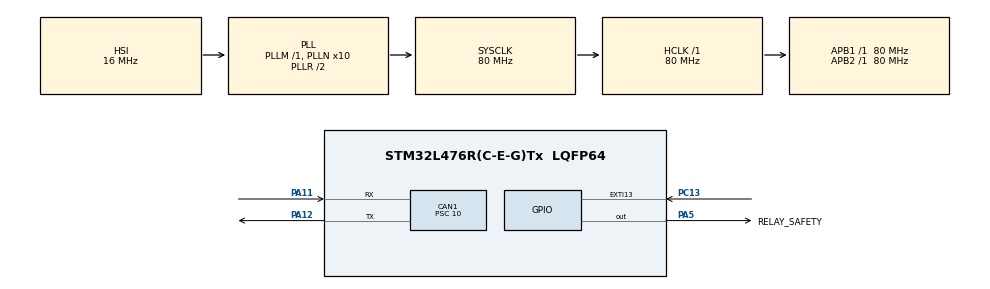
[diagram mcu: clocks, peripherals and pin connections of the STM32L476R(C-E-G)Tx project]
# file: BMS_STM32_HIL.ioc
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CAN1.BS1=CAN_BS1_13TQ
CAN1.BS2=CAN_BS2_2TQ
CAN1.CalculateBaudRate=500000
CAN1.CalculateTimeBit=2000
CAN1.CalculateTimeQuantum=125.0
CAN1.Prescaler=10
Mcu.Family=STM32L4
Mcu.Name=STM32L476R(C-E-G)Tx
Mcu.Package=LQFP64
NUCLEO-L476RG.BUTTON=1
NUCLEO-L476RG.LD2=true
NVIC.CAN1_RX0_IRQn=true\:0\:0\:false\:false\:true\:true\:true\:true
NVIC.EXTI15_10_IRQn=true\:0\:0\:false\:false\:true\:false\:true\:true
NVIC.PriorityGroup=NVIC_PRIORITYGROUP_4
PA11.Mode=CAN_Activate
PA11.Signal=CAN1_RX
PA12.Mode=CAN_Activate
PA12.Signal=CAN1_TX
PA13\ (JTMS-SWDIO).GPIO_Label=TMS
PA13\ (JTMS-SWDIO).Signal=SYS_JTMS-SWDIO
PA14\ (JTCK-SWCLK).GPIO_Label=TCK
PA14\ (JTCK-SWCLK).Signal=SYS_JTCK-SWCLK
PA2.GPIO_Label=USART_TX
PA2.GPIO_Mode=GPIO_MODE_AF_PP
PA2.GPIO_PuPd=GPIO_NOPULL
PA2.GPIO_Speed=GPIO_SPEED_FREQ_VERY_HIGH
PA2.Signal=USART2_TX
PA3.GPIO_Label=USART_RX
PA3.GPIO_Mode=GPIO_MODE_AF_PP
PA3.GPIO_PuPd=GPIO_NOPULL
PA3.GPIO_Speed=GPIO_SPEED_FREQ_VERY_HIGH
PA3.Signal=USART2_RX
PA5.GPIO_Label=RELAY_SAFETY
PA5.Signal=GPIO_Output
PB3\ (JTDO-TRACESWO).GPIO_Label=SWO
PB3\ (JTDO-TRACESWO).Signal=SYS_JTDO-SWO
PC13.Signal=GPXTI13
PC14-OSC32_IN\ (PC14).Signal=RCC_OSC32_IN
PC15-OSC32_OUT\ (PC15).Signal=RCC_OSC32_OUT
PH0-OSC_IN\ (PH0).Signal=RCC_OSC_IN
PH1-OSC_OUT\ (PH1).Signal=RCC_OSC_OUT
ProjectManager.HeapSize=0x200
ProjectManager.StackSize=0x400
ProjectManager.TargetToolchain=STM32CubeIDE
RCC.ADCFreq_Value=64000000
RCC.AHBFreq_Value=80000000
RCC.APB1Freq_Value=80000000
RCC.APB1TimFreq_Value=80000000
RCC.APB2Freq_Value=80000000
RCC.APB2TimFreq_Value=80000000
RCC.CortexFreq_Value=80000000
RCC.HCLKFreq_Value=80000000
RCC.HSE_VALUE=8000000
RCC.HSI_VALUE=16000000
RCC.LSE_VALUE=32768
RCC.MSI_VALUE=4000000
RCC.PLLN=10
RCC.PLLSourceVirtual=RCC_PLLSOURCE_HSI
RCC.PREFETCH_ENABLE=1
RCC.SYSCLKFreq_VALUE=80000000
RCC.SYSCLKSource=RCC_SYSCLKSOURCE_PLLCLK
RCC.USBFreq_Value=64000000
RCC.VCOOutputFreq_Value=160000000
VP_NUCLEO-L476RG_VS_BSP_COMMON.Mode=COMMON
board=NUCLEO-L476RG

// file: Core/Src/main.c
/* USER CODE BEGIN Header */
/**
  ******************************************************************************
  * @file           : main.c
  * @brief          : Main program body - Embedded BMS Controller (HIL Node)
  ******************************************************************************
  */
/* USER CODE END Header */
#include "main.h"

/* USER CODE BEGIN Includes */
#include "Controller_BMS.h"
/* USER CODE END Includes */

CAN_HandleTypeDef hcan1;

/* USER CODE BEGIN PV */
volatile uint32_t dwt_cycles = 0;
volatile float execution_time_us = 0.0f;
CAN_RxHeaderTypeDef rxHeader;
uint8_t rxData[8];
volatile uint32_t last_can_rx_tick = 0;
/* USER CODE END PV */

void SystemClock_Config(void);
static void MX_GPIO_Init(void);
static void MX_CAN1_Init(void);

int main(void)
{

  /* MCU Configuration--------------------------------------------------------*/
  HAL_Init();

  /* Configure the system clock */
  SystemClock_Config();

  /* Initialize all configured peripherals */
  MX_GPIO_Init();
  MX_CAN1_Init();

  /* USER CODE BEGIN 2 */
  CoreDebug->DEMCR |= CoreDebug_DEMCR_TRCENA_Msk;
    DWT->CTRL |= DWT_CTRL_CYCCNTENA_Msk;
  // 1. Initialisation du modèle Simulink (Stateflow + ANN)
  Controller_BMS_initialize();

  // 2. Configuration du Filtre CAN (Accepter ID 0x100)
  CAN_FilterTypeDef sFilterConfig;
  sFilterConfig.FilterBank = 0;
  sFilterConfig.FilterMode = CAN_FILTERMODE_IDMASK;
  sFilterConfig.FilterScale = CAN_FILTERSCALE_32BIT;
  sFilterConfig.FilterIdHigh = (0x100 << 5);
  sFilterConfig.FilterIdLow = 0x0000;
  sFilterConfig.FilterMaskIdHigh = (0x7FF << 5);
  sFilterConfig.FilterMaskIdLow = 0x0000;
  sFilterConfig.FilterFIFOAssignment = CAN_RX_FIFO0;
  sFilterConfig.FilterActivation = ENABLE;
  sFilterConfig.SlaveStartFilterBank = 14;

  if (HAL_CAN_ConfigFilter(&hcan1, &sFilterConfig) != HAL_OK)
  {
    Error_Handler();
  }

  // 3. Forçage matériel de l'interruption NVIC (Sécurité si omis dans CubeMX)
  HAL_NVIC_SetPriority(CAN1_RX0_IRQn, 1, 0);
  HAL_NVIC_EnableIRQ(CAN1_RX0_IRQn);

  // 4. Démarrage du contrôleur CAN
  if (HAL_CAN_Start(&hcan1) != HAL_OK)
  {
    Error_Handler();
  }

  // 5. Activation des notifications de réception FIFO 0
  if (HAL_CAN_ActivateNotification(&hcan1, CAN_IT_RX_FIFO0_MSG_PENDING) != HAL_OK)
  {
    Error_Handler();
  }

  // Keep the relay open until the controller authorizes operation.
  HAL_GPIO_WritePin(RELAY_SAFETY_GPIO_Port, RELAY_SAFETY_Pin, GPIO_PIN_RESET);
  /* USER CODE END 2 */

  /* Initialize leds - DÉSACTIVÉ pour éviter le reset conflictuel de PA5 */
  // BSP_LED_Init(LED_GREEN);

  /* Infinite loop */
  /* USER CODE BEGIN WHILE */
  while (1)
  {
    // Watchdog FTTI : Coupure du relais si perte du bus CAN > 300 ms
    if ((HAL_GetTick() - last_can_rx_tick) > 300)
    {
      HAL_GPIO_WritePin(RELAY_SAFETY_GPIO_Port, RELAY_SAFETY_Pin, GPIO_PIN_RESET);
    }

    HAL_Delay(10);
    /* USER CODE END WHILE */

  }
}

void SystemClock_Config(void)
{
  RCC_OscInitTypeDef RCC_OscInitStruct = {0};
  RCC_ClkInitTypeDef RCC_ClkInitStruct = {0};

  if (HAL_PWREx_ControlVoltageScaling(PWR_REGULATOR_VOLTAGE_SCALE1) != HAL_OK)
  {
    Error_Handler();
  }

  RCC_OscInitStruct.OscillatorType = RCC_OSCILLATORTYPE_HSI;
  RCC_OscInitStruct.HSIState = RCC_HSI_ON;
  RCC_OscInitStruct.HSICalibrationValue = RCC_HSICALIBRATION_DEFAULT;
  RCC_OscInitStruct.PLL.PLLState = RCC_PLL_ON;
  RCC_OscInitStruct.PLL.PLLSource = RCC_PLLSOURCE_HSI;
  RCC_OscInitStruct.PLL.PLLM = 1;
  RCC_OscInitStruct.PLL.PLLN = 10;
  RCC_OscInitStruct.PLL.PLLP = RCC_PLLP_DIV7;
  RCC_OscInitStruct.PLL.PLLQ = RCC_PLLQ_DIV2;
  RCC_OscInitStruct.PLL.PLLR = RCC_PLLR_DIV2;
  if (HAL_RCC_OscConfig(&RCC_OscInitStruct) != HAL_OK)
  {
    Error_Handler();
  }

  RCC_ClkInitStruct.ClockType = RCC_CLOCKTYPE_HCLK|RCC_CLOCKTYPE_SYSCLK
                              |RCC_CLOCKTYPE_PCLK1|RCC_CLOCKTYPE_PCLK2;
  RCC_ClkInitStruct.SYSCLKSource = RCC_SYSCLKSOURCE_PLLCLK;
  RCC_ClkInitStruct.AHBCLKDivider = RCC_SYSCLK_DIV1;
  RCC_ClkInitStruct.APB1CLKDivider = RCC_HCLK_DIV1;
  RCC_ClkInitStruct.APB2CLKDivider = RCC_HCLK_DIV1;

  if (HAL_RCC_ClockConfig(&RCC_ClkInitStruct, FLASH_LATENCY_4) != HAL_OK)
  {
    Error_Handler();
  }
}

static void MX_CAN1_Init(void)
{
  hcan1.Instance = CAN1;
  hcan1.Init.Prescaler = 10;
  hcan1.Init.Mode = CAN_MODE_NORMAL;
  hcan1.Init.SyncJumpWidth = CAN_SJW_1TQ;
  hcan1.Init.TimeSeg1 = CAN_BS1_13TQ;
  hcan1.Init.TimeSeg2 = CAN_BS2_2TQ;
  hcan1.Init.TimeTriggeredMode = DISABLE;
  hcan1.Init.AutoBusOff = DISABLE;
  hcan1.Init.AutoWakeUp = DISABLE;
  hcan1.Init.AutoRetransmission = DISABLE;
  hcan1.Init.ReceiveFifoLocked = DISABLE;
  hcan1.Init.TransmitFifoPriority = DISABLE;
  if (HAL_CAN_Init(&hcan1) != HAL_OK)
  {
    Error_Handler();
  }
}

static void MX_GPIO_Init(void)
{
  GPIO_InitTypeDef GPIO_InitStruct = {0};

  __HAL_RCC_GPIOC_CLK_ENABLE();
  __HAL_RCC_GPIOH_CLK_ENABLE();
  __HAL_RCC_GPIOA_CLK_ENABLE();
  __HAL_RCC_GPIOB_CLK_ENABLE();

  HAL_GPIO_WritePin(RELAY_SAFETY_GPIO_Port, RELAY_SAFETY_Pin, GPIO_PIN_RESET);

  GPIO_InitStruct.Pin = RELAY_SAFETY_Pin;
  GPIO_InitStruct.Mode = GPIO_MODE_OUTPUT_PP;
  GPIO_InitStruct.Pull = GPIO_NOPULL;
  GPIO_InitStruct.Speed = GPIO_SPEED_FREQ_LOW;
  HAL_GPIO_Init(RELAY_SAFETY_GPIO_Port, &GPIO_InitStruct);
}

/* USER CODE BEGIN 4 */
void HAL_CAN_RxFifo0MsgPendingCallback(CAN_HandleTypeDef *hcan)
{
  if (HAL_CAN_GetRxMessage(hcan, CAN_RX_FIFO0, &rxHeader, rxData) == HAL_OK)
  {
    if ((rxHeader.IDE == CAN_ID_STD) &&
        (rxHeader.RTR == CAN_RTR_DATA) &&
        (rxHeader.StdId == 0x100) && (rxHeader.DLC == 5))
    {
      // 1. Rafraîchissement du timer Watchdog
      last_can_rx_tick = HAL_GetTick();

      // 2. Décodage des octets bruts
      uint16_t v_raw = (uint16_t)((rxData[0] << 8) | rxData[1]);
      int16_t  i_raw = (int16_t)((rxData[2] << 8) | rxData[3]);
      int8_t   t_raw = (int8_t)rxData[4];

      // 3. Injection dans les entrées du modèle Simulink
      Controller_BMS_U.V_cell = (real32_T)(v_raw / 1000.0f); // Conversion mV -> Volts
      Controller_BMS_U.I      = (real32_T)(i_raw / 100.0f);  // Conversion cA -> Ampères
      Controller_BMS_U.T      = (real32_T)t_raw;             // Température en °C
      uint32_t t_start = DWT->CYCCNT;

            // 1. Exécution du modèle Simulink (Stateflow + ANN)
            Controller_BMS_step();

            // 2. Décision matérielle sur le relais
            if (Controller_BMS_Y.relay == true)
            {
              HAL_GPIO_WritePin(RELAY_SAFETY_GPIO_Port, RELAY_SAFETY_Pin, GPIO_PIN_SET);
            }
            else
            {
              HAL_GPIO_WritePin(RELAY_SAFETY_GPIO_Port, RELAY_SAFETY_Pin, GPIO_PIN_RESET);
            }

            // ==========================================
            // FIN DE LA MESURE
            // ==========================================
            uint32_t t_end = DWT->CYCCNT;

            dwt_cycles = t_end - t_start;
            execution_time_us = (float)dwt_cycles / 80.0f;

    }
  }
}
/* USER CODE END 4 */

void Error_Handler(void)
{
  __disable_irq();
  while (1)
  {
  }
}
